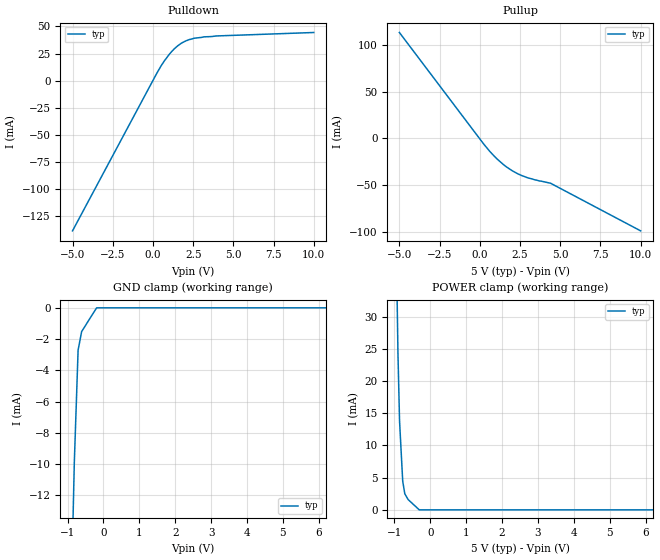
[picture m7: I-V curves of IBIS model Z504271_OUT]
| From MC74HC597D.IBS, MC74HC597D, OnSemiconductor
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| (C) COPYRIGHT 1993-2000
| MENTOR GRAPHICS CORPORATION
| ICX STANDARD LIBRARY, ICX PROJECT MODELING,
| ICX CUSTOM MODELING, ICX VENDOR MODEL
| ALL RIGHTS RESERVED.
| THE FOLLOWING ARE TRADEMARKS OR SERVICE MARKS OF
| MENTOR GRAPHICS CORPORATION:ICX (R), ICX STANDARD
| LIBRARY(R), ICX PROJECT MODELING(R), ICX CUSTOM
| MODELING(R), qualityIBIS(TM), MODELVIEWER(TM),
| AND MODELEDITOR(TM)
| ALL COPIES OF SOFTWARE, INCLUDING BUT NOT LIMITED TO
| ANY MODIFICATIONS, ENHANCEMENTS OR DERIVATIVE WORKS,
| MUST CONTAIN ALL MENTOR GRAPHICS CORPORATION'S
| NOTICES AND LEGENDS, INCLUDING THOSE EMBEDDED IN
| SOFTWARE AND THOSE AFFIXED TO SOFTWARE MEDIUM
| AND CONTAINER, AS RECEIVED FROM MENTOR GRAPHICS
| CORPORATION.
| Model Application Version 1.89 2/18/99.
[Model] Z504271_OUT
Model_type Output
Vref=0.000V
Rref=500.0Mohms
Cref=50.00pF
Vmeas=2.500V
C_comp 8.000pF NA NA
| variable typ   min   max
[Voltage Range] 5.000V NA NA
[POWER Clamp Reference] 5.000V NA NA
[Pullup Reference] 5.000V NA NA
[Pulldown Reference] 0.000V NA NA
[GND Clamp Reference] 0.000V NA NA
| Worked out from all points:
|   slope of the pulldown table from 0 to 0.75 V, typ, clamps not added: 39.7 ohm
|   slope of the pullup table from 0 to 0.75 V, typ, clamps not added: 47.7 ohm
|   GND clamp passes 1 mA (typ) near -0.47 V on its own axis
[GND Clamp]
-5V       -350.4mA   NA         NA
-1.163V   -45.23mA   NA         NA
-813.8mV  -9.95mA    NA         NA
-707.9mV  -2.714mA   NA         NA
-609.3mV  -1.526mA   NA         NA
-379.8mV  -684.2uA   NA         NA
-189.9mV  0A         NA         NA
10V       0A         NA         NA
[Pulldown]
-5V       -138.4mA   NA         NA
258.8mV   7.337mA    NA         NA
704.1mV   18.13mA    NA         NA
1.001V    23.98mA    NA         NA
1.528V    31.97mA    NA         NA
1.787V    34.73mA    NA         NA
2.281V    38.03mA    NA         NA
3.174V    40.4mA     NA         NA
10V       44.41mA    NA         NA
[Pullup]
-5V       113mA      NA         NA
254mV     -6.254mA   NA         NA
860mV     -18.24mA   NA         NA
1.469V    -27.88mA   NA         NA
2.021V    -34.53mA   NA         NA
2.655V    -39.96mA   NA         NA
3.447V    -44.31mA   NA         NA
4.399V    -47.81mA   NA         NA
10V       -98.61mA   NA         NA
[POWER Clamp]
-5V       2.064A     NA         NA
-1.089V   92.38mA    NA         NA
-903mV    24.13mA    NA         NA
-859mV    13.79mA    NA         NA
-771mV    4.462mA    NA         NA
-713mV    2.499mA    NA         NA
-619mV    1.592mA    NA         NA
-309.5mV  0A         NA         NA
10V       0A         NA         NA
[Ramp]
| variable typ min max
dV/dt_r 2.765/780.6p NA NA
dV/dt_f 2.765/722.5p NA NA
R_load = 500.0Ohms
